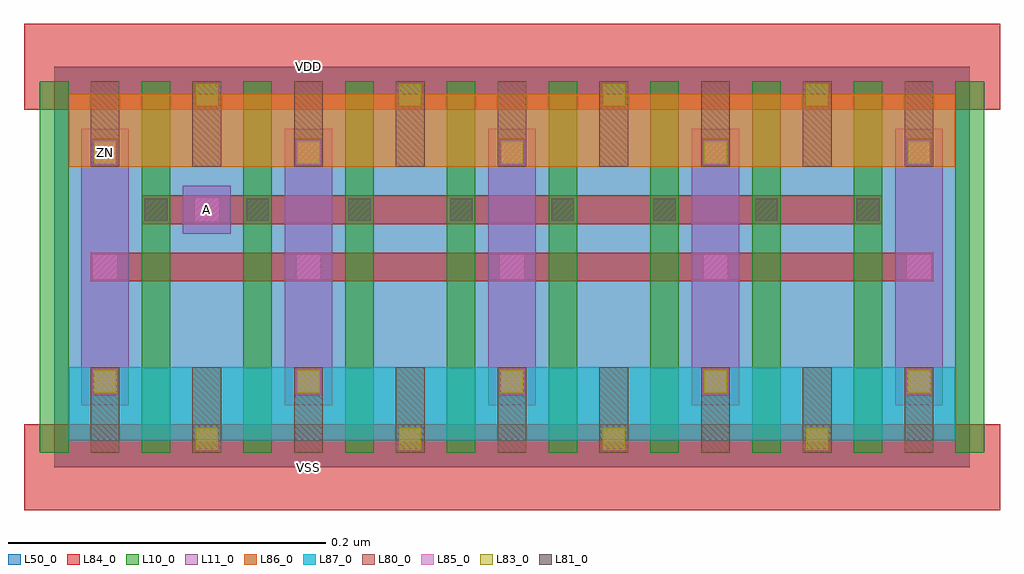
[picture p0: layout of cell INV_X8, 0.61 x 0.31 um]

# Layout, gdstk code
import gdstk
lib = gdstk.Library(unit=1e-6, precision=1e-09)
def R(c, l, rs):  # rectangles x0, y0, x1, y1
    for r in rs: c.add(gdstk.rectangle(r[:2], r[2:], *l))
def A(c, l, x, y, w, h, nx, ny, dx, dy):  # array of equal rectangles
    R(c, l, [(x+i*dx, y+j*dy, x+i*dx+w, y+j*dy+h) for i in range(nx) for j in range(ny)])
L10_0 = (10, 0)
L11_0 = (11, 0)
L50_0 = (50, 0)
L80_0 = (80, 0)
L81_0 = (81, 0)
L83_0 = (83, 0)
L84_0 = (84, 0)
L85_0 = (85, 0)
L86_0 = (86, 0)
L87_0 = (87, 0)

inv_x8 = lib.new_cell('INV_X8')
A(inv_x8, L10_0, -0.009, 0.009, 0.018, 0.234, 5, 1, 0.064, 0)
A(inv_x8, L10_0, 0.311, 0.009, 0.018, 0.234, 5, 1, 0.064, 0)
R(inv_x8, L10_0, [(0.247,0.009,0.265,0.243), (0.311,0.009,0.329,0.243)])
A(inv_x8, L11_0, 0.017, 0.039, 0.03, 0.174, 3, 1, 0.128, 0)
A(inv_x8, L11_0, 0.273, 0.039, 0.03, 0.174, 3, 1, 0.128, 0)
R(inv_x8, L11_0, [(0.081,0.147,0.111,0.177)])
R(inv_x8, L50_0, [(0,0,0.576,0.252)])
A(inv_x8, L80_0, 0.023, 0.009, 0.018, 0.054, 5, 2, 0.064, 0.18)
A(inv_x8, L80_0, 0.279, 0.009, 0.018, 0.054, 5, 2, 0.064, 0.18)
A(inv_x8, L81_0, 0.057, 0.155, 0.014, 0.014, 8, 1, 0.064, 0)
A(inv_x8, L83_0, 0.089, 0.011, 0.014, 0.014, 4, 2, 0.128, 0.216)
A(inv_x8, L83_0, 0.025, 0.047, 0.014, 0.014, 3, 2, 0.128, 0.144)
A(inv_x8, L83_0, 0.281, 0.047, 0.014, 0.014, 3, 2, 0.128, 0.144)
A(inv_x8, L84_0, 0.023, 0.045, 0.018, 0.018, 3, 2, 0.128, 0.144)
A(inv_x8, L84_0, 0.279, 0.045, 0.018, 0.018, 3, 2, 0.128, 0.144)
R(inv_x8, L84_0, [(-0.019,-0.027,0.339,0.027), (0.237,-0.027,0.595,0.027), (0.023,0.117,0.297,0.135), (0.279,0.117,0.553,0.135), (0.055,0.153,0.313,0.171), (0.311,0.153,0.521,0.171), (-0.019,0.225,0.339,0.279), (0.237,0.225,0.595,0.279)])
A(inv_x8, L85_0, 0.024, 0.046, 0.016, 0.016, 3, 3, 0.128, 0.072)
A(inv_x8, L85_0, 0.28, 0.046, 0.016, 0.016, 3, 3, 0.128, 0.072)
R(inv_x8, L85_0, [(0.088,0.154,0.104,0.17)])
R(inv_x8, L86_0, [(0.009,0.189,0.311,0.235), (0.265,0.189,0.567,0.235)])
R(inv_x8, L87_0, [(0.009,0.017,0.311,0.063), (0.265,0.017,0.567,0.063)])
inv_x8.add(gdstk.Label('VSS', (0.16,0), layer=88, texttype=0))
inv_x8.add(gdstk.Label('VDD', (0.16,0.252), layer=88, texttype=0))
inv_x8.add(gdstk.Label('A', (0.096,0.162), layer=31, texttype=0))
inv_x8.add(gdstk.Label('ZN', (0.032,0.198), layer=31, texttype=0))

lib.write_gds('INV_X8.gds')
